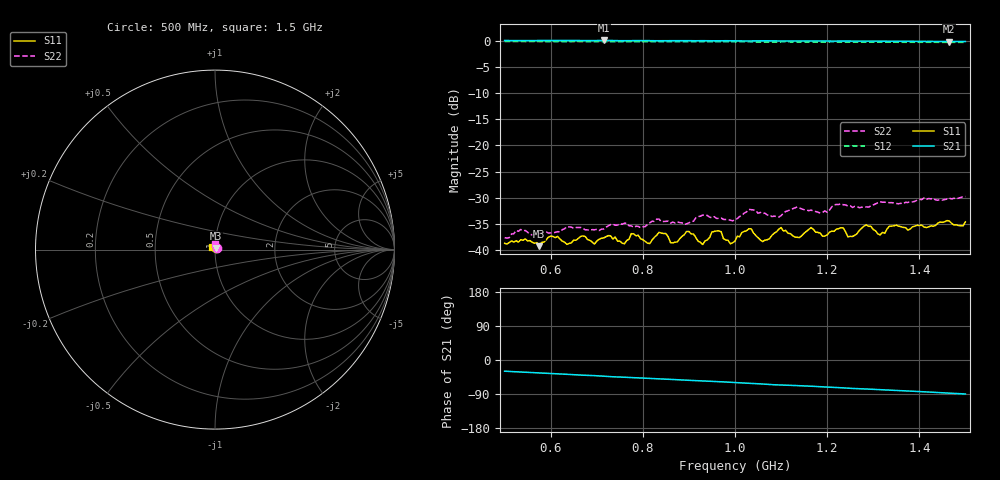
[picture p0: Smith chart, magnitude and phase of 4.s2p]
#  HZ  S  DB  R  50.00
! Rohde & Schwarz Vector Network Analyzer
! Rohde-Schwarz,ZNC3-2Port,1311600412101323,1.94
! Created: UTC 6/24/2025, 11:05:35 PM
!The following Port Impedance Renormalization has been used when saving the data.
!PortZ  Port1:50+j0  Port2:50+j0
! freq[Hz]  db:S11  ang:S11  db:S21  ang:S21  db:S12  ang:S12  db:S22  ang:S22
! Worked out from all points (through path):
!   201 points, 500 MHz to 1.5 GHz, reference 50 ohm
!   highest |S21| = 0.01 dB at 715 MHz (marker M1); lowest = -0.2 dB at 1.465 GHz (marker M2)
!   group delay of S21, straight-line fit = 166 ps
!   lowest |S11| = -39.2 dB at 575 MHz (marker M3), VSWR 1.02, Z = 50.5 + j0.976 ohm
!   |S11| at or under -10 dB: start of sweep to end of sweep
!   |S22| runs from -37.7 to -29.8 dB; largest |S21 - S12| = 0.037
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5e8  -38.67 54.7  0.00 -29.6  -0.20 -30.5  -37.59 43.8
5.75e8  -39.21 61.9  -0.01 -33.9  -0.21 -35.1  -36.85 55.4
6.7e8  -37.25 74.9  -0.00 -40.1  -0.22 -40.5  -35.85 57.4
7.15e8  -37.64 71.5  0.01 -42.8  -0.22 -43.1  -35.94 54.4
7.75e8  -36.82 76.4  -0.02 -46.2  -0.23 -46.8  -35.33 62.0
8.15e8  -38.71 80.2  -0.03 -48.6  -0.23 -49.2  -34.76 59.1
8.35e8  -36.57 78.7  -0.04 -49.6  -0.24 -50.5  -34.04 60.5
8.6e8  -38.53 92.4  -0.03 -51.1  -0.25 -51.9  -34.82 67.5
8.95e8  -36.40 84.6  -0.03 -53.3  -0.25 -53.9  -34.95 61.6
9.3e8  -38.90 97.2  -0.03 -55.1  -0.25 -56.3  -33.27 64.9
9.6e8  -36.30 94.9  -0.05 -56.8  -0.27 -58.3  -33.92 72.8
1e9  -38.23 101.6  -0.05 -59.5  -0.27 -60.3  -34.20 64.9
1.03e9  -35.90 101.3  -0.08 -61.3  -0.30 -61.9  -32.20 69.5
1.06e9  -38.34 108.9  -0.04 -63.5  -0.28 -63.3  -32.99 78.3
1.1e9  -35.66 108.8  -0.08 -66.1  -0.27 -65.2  -33.41 69.9
1.14e9  -37.58 110.1  -0.06 -67.9  -0.28 -68.3  -31.94 75.5
1.17e9  -35.99 116.3  -0.08 -69.5  -0.28 -70.5  -32.51 80.0
1.235e9  -35.73 124.6  -0.10 -73.6  -0.29 -74.3  -31.31 79.7
1.245e9  -37.43 126.6  -0.10 -74.3  -0.30 -74.8  -31.56 82.6
1.335e9  -35.41 131.2  -0.13 -79.5  -0.33 -80.2  -30.92 85.9
1.465e9  -34.41 142.1  -0.19 -87.6  -0.35 -87.4  -30.05 88.7
1.5e9  -34.57 141.1  -0.19 -89.6  -0.36 -89.5  -29.75 91.1
